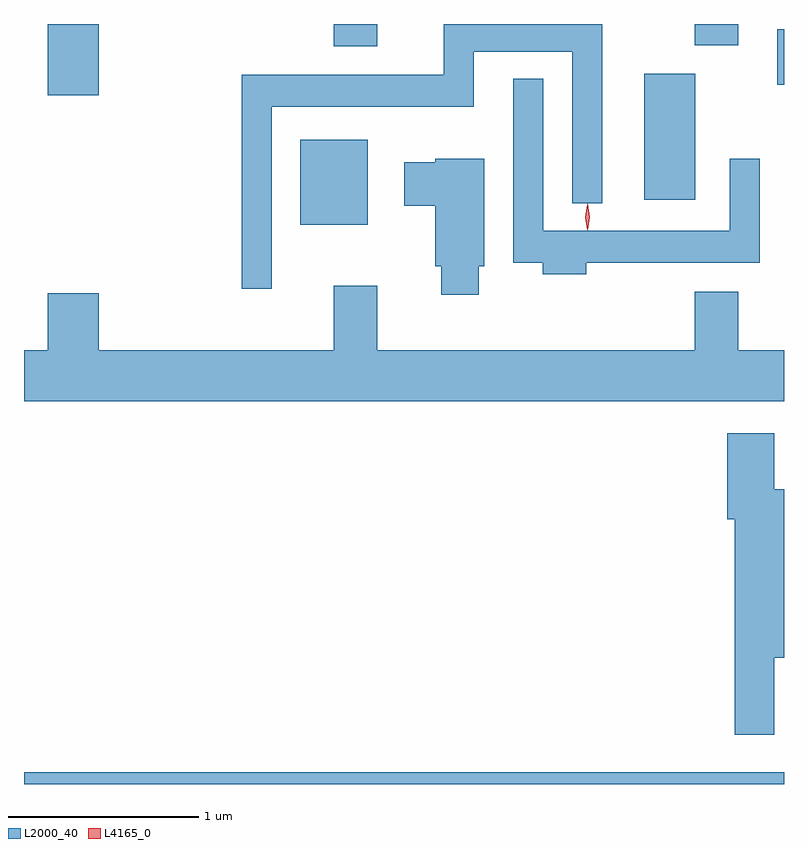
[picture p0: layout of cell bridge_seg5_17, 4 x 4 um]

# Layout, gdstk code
import gdstk
lib = gdstk.Library(unit=1e-6, precision=1e-09)
def R(c, l, rs):  # rectangles x0, y0, x1, y1
    for r in rs: c.add(gdstk.rectangle(r[:2], r[2:], *l))
def P(c, l, *ps):  # polygons
    for p in ps: c.add(gdstk.Polygon(p, *l))
L2000_40 = (2000, 40)
L4165_0 = (4165, 0)

bridge_seg5_17 = lib.new_cell('bridge_seg5_17')
R(bridge_seg5_17, L2000_40, [(1253.911,1474.762,1257.911,1474.824), (1255.366,1477.706,1255.719,1478.154), (1257.176,1477.836,1257.444,1478.499), (1254.036,1478.386,1254.304,1478.762), (1257.876,1478.441,1257.911,1478.734), (1255.541,1478.646,1255.769,1478.762), (1257.441,1478.651,1257.669,1478.762)])
P(bridge_seg5_17, L2000_40, [(1255.214,1478.326),(1256.279,1478.326),(1256.279,1478.616),(1256.796,1478.616),(1256.796,1477.818),(1256.954,1477.818),(1256.954,1478.762),(1256.121,1478.762),(1256.121,1478.494),(1255.056,1478.494),(1255.056,1477.368),(1255.214,1477.368)],
  [(1256.869,1477.506),(1257.784,1477.506),(1257.784,1478.053),(1257.626,1478.053),(1257.626,1477.674),(1256.644,1477.674),(1256.644,1478.473),(1256.486,1478.473),(1256.486,1477.506),(1256.641,1477.506),(1256.641,1477.446),(1256.869,1477.446)],
  [(1256.304,1477.486),(1256.334,1477.486),(1256.334,1478.054),(1256.076,1478.054),(1256.076,1478.034),(1255.911,1478.034),(1255.911,1477.806),(1256.076,1477.806),(1256.076,1477.486),(1256.106,1477.486),(1256.106,1477.336),(1256.304,1477.336)],
  [(1257.911,1477.044),(1257.669,1477.044),(1257.669,1477.354),(1257.441,1477.354),(1257.441,1477.044),(1255.769,1477.044),(1255.769,1477.384),(1255.541,1477.384),(1255.541,1477.044),(1254.304,1477.044),(1254.304,1477.344),(1254.036,1477.344),(1254.036,1477.044),(1253.911,1477.044),(1253.911,1476.776),(1257.911,1476.776)],
  [(1257.859,1475.426),(1257.911,1475.426),(1257.911,1476.314),(1257.859,1476.314),(1257.859,1476.609),(1257.611,1476.609),(1257.611,1476.156),(1257.651,1476.156),(1257.651,1475.021),(1257.859,1475.021)])
P(bridge_seg5_17, L4165_0, [(1256.877,1477.677),(1256.868,1477.747),(1256.877,1477.816),(1256.878,1477.816),(1256.878,1477.816),(1256.888,1477.746),(1256.878,1477.677),(1256.878,1477.677)],
  [(1256.876,1477.679),(1256.876,1477.68),(1256.866,1477.746),(1256.876,1477.812),(1256.876,1477.813),(1256.877,1477.812),(1256.886,1477.746),(1256.877,1477.68)])

lib.write_gds('bridge_seg5_17.gds')
